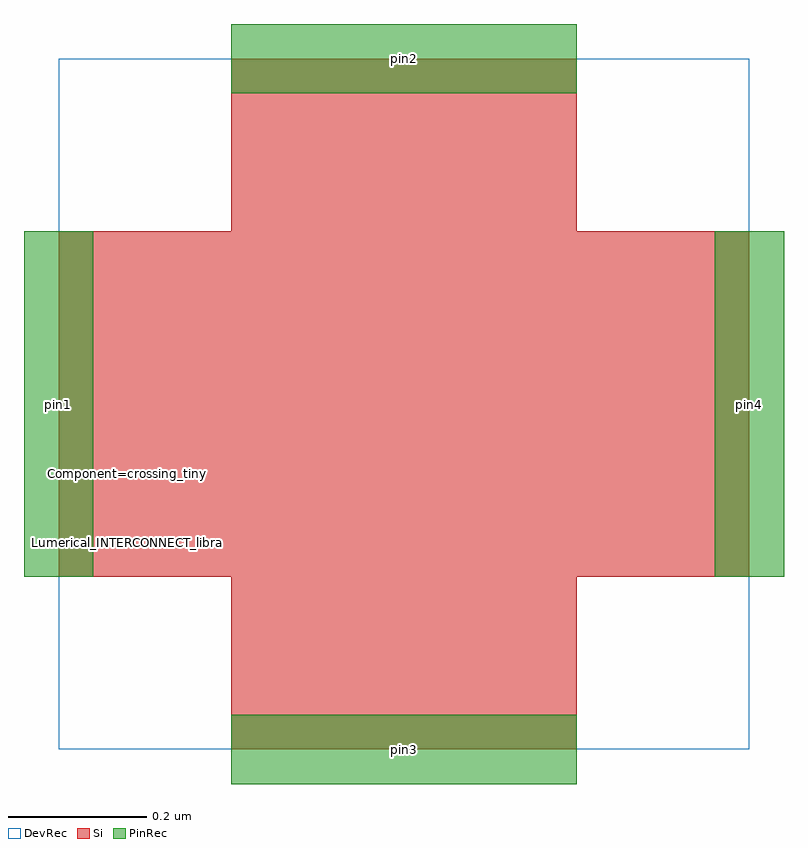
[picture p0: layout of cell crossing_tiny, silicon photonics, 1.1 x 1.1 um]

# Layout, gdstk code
import gdstk
lib = gdstk.Library(unit=1e-6, precision=1e-09)
def R(c, l, rs):  # rectangles x0, y0, x1, y1
    for r in rs: c.add(gdstk.rectangle(r[:2], r[2:], *l))
Si = (1, 0)
PinRec = (1, 10)
DevRec = (68, 0)

crossing_tiny = lib.new_cell('crossing_tiny')
R(crossing_tiny, DevRec, [(-0.5,-0.5,0.5,0.5)])
crossing_tiny.add(gdstk.FlexPath([(-0.5,0),(0.5,0)], 0.5, ends="flush", simple_path=True, layer=1, datatype=0))  # Si
crossing_tiny.add(gdstk.FlexPath([(0,-0.5),(0,0.5)], 0.5, ends="flush", simple_path=True, layer=1, datatype=0))  # Si
crossing_tiny.add(gdstk.FlexPath([(-0.45,0),(-0.55,0)], 0.5, ends="flush", simple_path=True, layer=1, datatype=10))  # PinRec
crossing_tiny.add(gdstk.FlexPath([(0,-0.45),(0,-0.55)], 0.5, ends="flush", simple_path=True, layer=1, datatype=10))  # PinRec
crossing_tiny.add(gdstk.FlexPath([(0,0.45),(0,0.55)], 0.5, ends="flush", simple_path=True, layer=1, datatype=10))  # PinRec
crossing_tiny.add(gdstk.FlexPath([(0.45,0),(0.55,0)], 0.5, ends="flush", simple_path=True, layer=1, datatype=10))  # PinRec
crossing_tiny.add(gdstk.Label('pin3', (0,-0.5), layer=1, texttype=10))
crossing_tiny.add(gdstk.Label('pin1', (-0.5,0), layer=1, texttype=10))
crossing_tiny.add(gdstk.Label('pin2', (0,0.5), layer=1, texttype=10))
crossing_tiny.add(gdstk.Label('pin4', (0.5,0), layer=1, texttype=10))
crossing_tiny.add(gdstk.Label('Component=crossing_tiny', (-0.4,-0.1), layer=1, texttype=10))
crossing_tiny.add(gdstk.Label('Lumerical_INTERCONNECT_library=Custom/EBeam_user', (-0.4,-0.2), layer=1, texttype=10))

lib.write_gds('crossing_tiny.gds')
